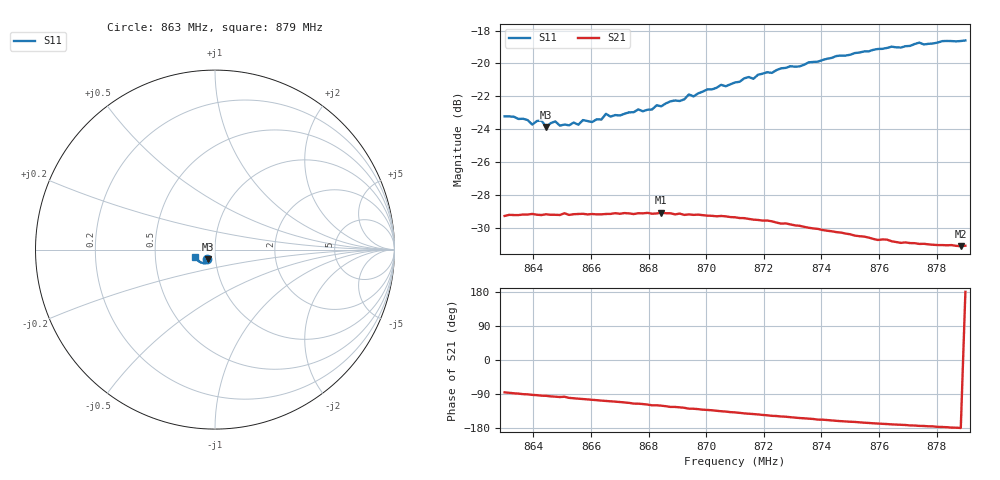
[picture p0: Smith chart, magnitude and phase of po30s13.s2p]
# HZ S RI R 50
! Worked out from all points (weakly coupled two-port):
!   101 points, 863 MHz to 879 MHz, reference 50 ohm
!   highest |S21| = -29.08 dB at 868.44 MHz (marker M1); lowest = -31.1 dB at 878.84 MHz (marker M2)
!   lowest |S11| = -23.9 dB at 864.44 MHz (marker M3), VSWR 1.14, Z = 46.2 - j4.84 ohm
!   |S11| at or under -10 dB: start of sweep to end of sweep
!   S12 and S22 are empty: the file has one direction only
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8.63e8  -0.0448 -0.0525  0.00273 -0.0343  0 0  0 0
8.638e8  -0.0409 -0.0534  -0.000421 -0.0347  0 0  0 0
8.6396e8  -0.0391 -0.0521  -0.00125 -0.0348  0 0  0 0
8.6428e8  -0.0386 -0.0549  -0.00254 -0.0345  0 0  0 0
8.6444e8  -0.0371 -0.0522  -0.00274 -0.0347  0 0  0 0
8.6476e8  -0.0378 -0.0548  -0.00411 -0.0344  0 0  0 0
8.6492e8  -0.0363 -0.0536  -0.00466 -0.0343  0 0  0 0
8.6524e8  -0.0352 -0.0544  -0.006 -0.0341  0 0  0 0
8.6556e8  -0.0348 -0.055  -0.00731 -0.0341  0 0  0 0
8.6572e8  -0.035 -0.0575  -0.00786 -0.034  0 0  0 0
8.6604e8  -0.0338 -0.0571  -0.00902 -0.0337  0 0  0 0
8.6636e8  -0.0354 -0.0575  -0.0103 -0.0332  0 0  0 0
8.6652e8  -0.0362 -0.0602  -0.0108 -0.0331  0 0  0 0
8.67e8  -0.0345 -0.0603  -0.0124 -0.0326  0 0  0 0
8.6844e8  -0.0357 -0.0649  -0.0179 -0.0303  0 0  0 0
8.694e8  -0.0398 -0.07  -0.0216 -0.0272  0 0  0 0
8.6956e8  -0.0401 -0.0685  -0.0216 -0.0271  0 0  0 0
8.71e8  -0.0473 -0.0736  -0.0254 -0.0227  0 0  0 0
8.7372e8  -0.0681 -0.0747  -0.0287 -0.0129  0 0  0 0
8.7644e8  -0.0933 -0.0628  -0.0283 -0.00505  0 0  0 0
8.7884e8  -0.1097 -0.0406  -0.0278 -0.000304  0 0  0 0
8.79e8  -0.1107 -0.0394  -0.0279 2.4e-05  0 0  0 0
